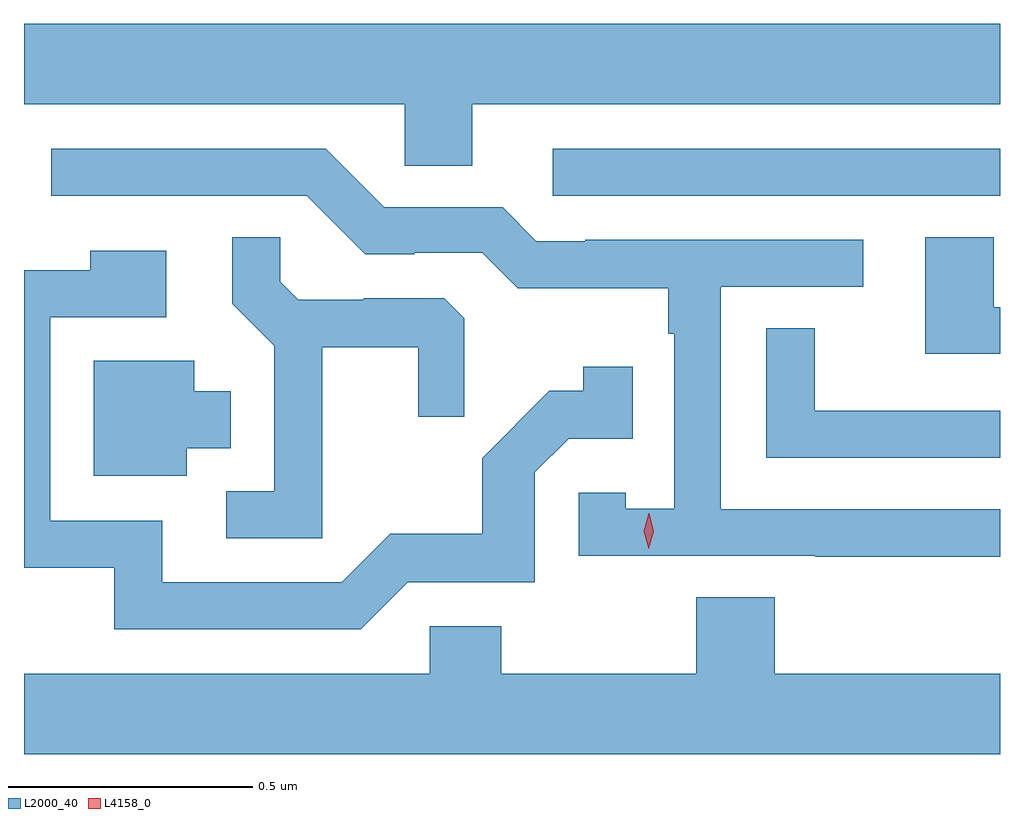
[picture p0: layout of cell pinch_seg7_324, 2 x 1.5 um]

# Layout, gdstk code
import gdstk
lib = gdstk.Library(unit=1e-6, precision=1e-09)
def R(c, l, rs):  # rectangles x0, y0, x1, y1
    for r in rs: c.add(gdstk.rectangle(r[:2], r[2:], *l))
def P(c, l, *ps):  # polygons
    for p in ps: c.add(gdstk.Polygon(p, *l))
L2000_40 = (2000, 40)
L4158_0 = (4158, 0)

pinch_seg7_324 = lib.new_cell('pinch_seg7_324')
R(pinch_seg7_324, L2000_40, [(545.433,1079.016,546.35,1079.112)])
P(pinch_seg7_324, L2000_40, [(545.269,1079.204),(546.35,1079.204),(546.35,1079.368),(544.35,1079.368),(544.35,1079.204),(545.13,1079.204),(545.13,1079.077),(545.269,1079.077)],
  [(546.35,1078.374),(545.778,1078.374),(545.778,1078.83),(546.07,1078.83),(546.07,1078.926),(545.5,1078.926),(545.5,1078.923),(545.4,1078.923),(545.331,1078.992),(545.088,1078.992),(544.968,1079.112),(544.406,1079.112),(544.406,1079.016),(544.929,1079.016),(545.049,1078.896),(545.15,1078.896),(545.15,1078.899),(545.289,1078.899),(545.362,1078.826),(545.67,1078.826),(545.67,1078.733),(545.682,1078.733),(545.682,1078.375),(545.583,1078.375),(545.583,1078.407),(545.487,1078.407),(545.487,1078.278),(545.971,1078.278),(545.971,1078.276),(546.35,1078.276)],
  [(544.961,1078.706),(545.158,1078.706),(545.158,1078.563),(545.252,1078.563),(545.252,1078.765),(545.211,1078.806),(545.046,1078.806),(545.046,1078.803),(544.912,1078.803),(544.875,1078.84),(544.875,1078.931),(544.777,1078.931),(544.777,1078.795),(544.863,1078.709),(544.863,1078.41),(544.764,1078.41),(544.764,1078.314),(544.961,1078.314)],
  [(546.35,1078.788),(546.337,1078.788),(546.337,1078.931),(546.197,1078.931),(546.197,1078.692),(546.35,1078.692)],
  [(545.136,1078.224),(545.397,1078.224),(545.397,1078.449),(545.466,1078.518),(545.597,1078.518),(545.597,1078.666),(545.496,1078.666),(545.496,1078.616),(545.426,1078.616),(545.289,1078.478),(545.289,1078.323),(545.1,1078.323),(545.001,1078.224),(544.633,1078.224),(544.633,1078.35),(544.404,1078.35),(544.404,1078.767),(544.642,1078.767),(544.642,1078.903),(544.486,1078.903),(544.486,1078.863),(544.35,1078.863),(544.35,1078.254),(544.535,1078.254),(544.535,1078.128),(545.04,1078.128)],
  [(546.35,1078.575),(545.97,1078.575),(545.97,1078.745),(545.871,1078.745),(545.871,1078.479),(546.35,1078.479)],
  [(544.684,1078.499),(544.774,1078.499),(544.774,1078.615),(544.699,1078.615),(544.699,1078.678),(544.493,1078.678),(544.493,1078.442),(544.684,1078.442)],
  [(546.35,1078.036),(545.888,1078.036),(545.888,1078.193),(545.728,1078.193),(545.728,1078.036),(545.328,1078.036),(545.328,1078.134),(545.181,1078.134),(545.181,1078.036),(544.35,1078.036),(544.35,1077.872),(546.35,1077.872)])
P(pinch_seg7_324, L4158_0, [(545.63,1078.293),(545.63,1078.293),(545.62,1078.329),(545.63,1078.365),(545.631,1078.365),(545.631,1078.365),(545.64,1078.329),(545.63,1078.293)])

lib.write_gds('pinch_seg7_324.gds')
